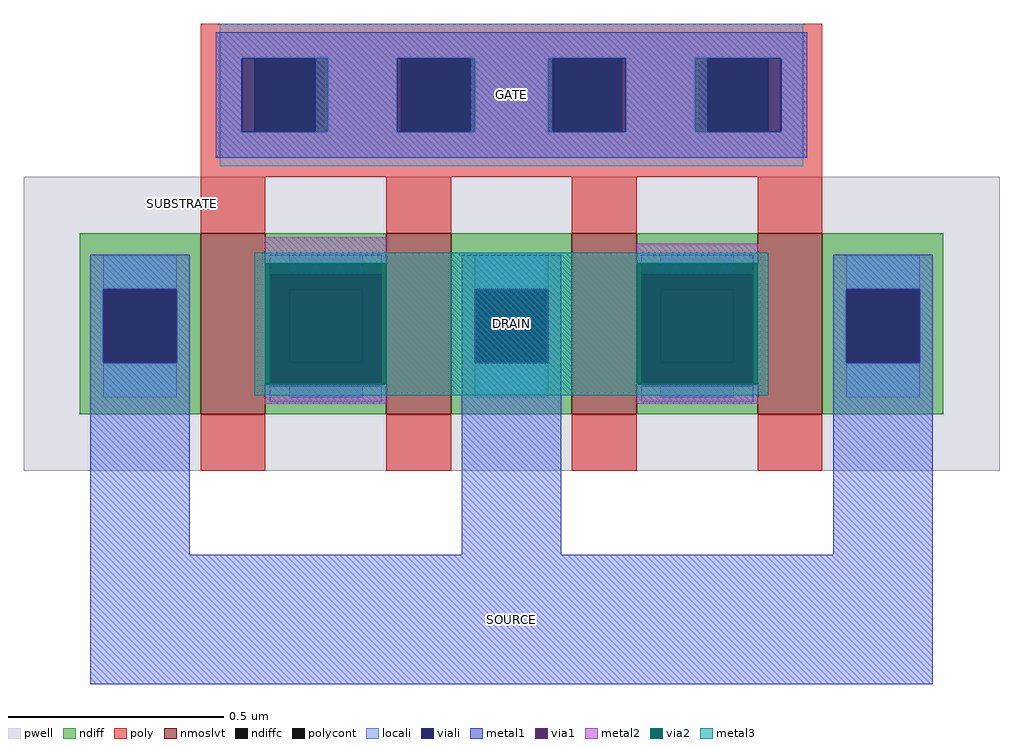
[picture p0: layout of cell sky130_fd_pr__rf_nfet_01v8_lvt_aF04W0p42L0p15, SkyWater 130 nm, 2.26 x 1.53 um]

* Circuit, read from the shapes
.subckt sky130_fd_pr__rf_nfet_01v8_lvt_aF04W0p42L0p15 DRAIN SOURCE GATE SUBSTRATE
XM1 DRAIN GATE SOURCE SUBSTRATE sky130_fd_pr__nfet_01v8_lvt w=0.42 l=0.15 m=4
.ends

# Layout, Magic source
magic
tech sky130A
magscale 1 2
<< pwell >>
rect 10 10 462 146
<< nmoslvt >>
rect 92 36 122 120
rect 178 36 208 120
rect 264 36 294 120
rect 350 36 380 120
<< ndiff >>
rect 36 94 92 120
rect 36 60 47 94
rect 81 60 92 94
rect 36 36 92 60
rect 122 94 178 120
rect 122 60 133 94
rect 167 60 178 94
rect 122 36 178 60
rect 208 94 264 120
rect 208 60 219 94
rect 253 60 264 94
rect 208 36 264 60
rect 294 94 350 120
rect 294 60 305 94
rect 339 60 350 94
rect 294 36 350 60
rect 380 94 436 120
rect 380 60 391 94
rect 425 60 436 94
rect 380 36 436 60
<< ndiffc >>
rect 47 60 81 94
rect 133 60 167 94
rect 219 60 253 94
rect 305 60 339 94
rect 391 60 425 94
<< poly >>
rect 92 201 380 217
rect 92 167 117 201
rect 151 167 185 201
rect 219 167 253 201
rect 287 167 321 201
rect 355 167 380 201
rect 92 146 380 167
rect 92 120 122 146
rect 178 120 208 146
rect 264 120 294 146
rect 350 120 380 146
rect 92 10 122 36
rect 178 10 208 36
rect 264 10 294 36
rect 350 10 380 36
<< polycont >>
rect 117 167 151 201
rect 185 167 219 201
rect 253 167 287 201
rect 321 167 355 201
<< locali >>
rect 101 201 371 217
rect 101 167 111 201
rect 151 167 183 201
rect 219 167 253 201
rect 289 167 321 201
rect 361 167 371 201
rect 101 151 371 167
rect 47 94 81 110
rect 47 44 81 60
rect 133 94 167 110
rect 133 44 167 60
rect 219 94 253 110
rect 219 44 253 60
rect 305 94 339 110
rect 305 44 339 60
rect 391 94 425 110
rect 391 44 425 60
<< viali >>
rect 111 167 117 201
rect 117 167 145 201
rect 183 167 185 201
rect 185 167 217 201
rect 255 167 287 201
rect 287 167 289 201
rect 327 167 355 201
rect 355 167 361 201
rect 47 60 81 94
rect 133 60 167 94
rect 219 60 253 94
rect 305 60 339 94
rect 391 60 425 94
<< metal1 >>
rect 99 201 373 213
rect 99 167 111 201
rect 145 167 183 201
rect 217 167 255 201
rect 289 167 327 201
rect 361 167 373 201
rect 99 155 373 167
rect 41 94 87 110
rect 41 60 47 94
rect 81 60 87 94
rect 41 -29 87 60
rect 124 101 176 110
rect 124 42 176 49
rect 213 94 259 110
rect 213 60 219 94
rect 253 60 259 94
rect 213 -29 259 60
rect 296 101 348 110
rect 296 42 348 49
rect 385 94 431 110
rect 385 60 391 94
rect 425 60 431 94
rect 385 -29 431 60
rect 41 -89 431 -29
<< via1 >>
rect 124 94 176 101
rect 124 60 133 94
rect 133 60 167 94
rect 167 60 176 94
rect 124 49 176 60
rect 296 94 348 101
rect 296 60 305 94
rect 305 60 339 94
rect 339 60 348 94
rect 296 49 348 60
<< metal2 >>
rect 122 106 178 118
rect 122 49 124 50
rect 176 49 178 50
rect 122 41 178 49
rect 294 106 350 115
rect 294 49 296 50
rect 348 49 350 50
rect 294 41 350 49
<< via2 >>
rect 122 101 178 106
rect 122 50 124 101
rect 124 50 176 101
rect 176 50 178 101
rect 294 101 350 106
rect 294 50 296 101
rect 296 50 348 101
rect 348 50 350 101
<< metal3 >>
rect 117 106 355 111
rect 117 50 122 106
rect 178 50 294 106
rect 350 50 355 106
rect 117 45 355 50
<< labels >>
flabel metal3 s 117 45 355 111 0 FreeSans 400 0 0 0 DRAIN
port 1 nsew
flabel metal1 s 41 -89 431 -29 0 FreeSans 400 0 0 0 SOURCE
port 2 nsew
flabel metal1 s 99 155 373 213 0 FreeSans 400 0 0 0 GATE
port 3 nsew
flabel pwell s 78 130 89 137 0 FreeSans 200 0 0 0 SUBSTRATE
port 4 nsew
<< properties >>
string GDS_FILE $PDKPATH/libs.ref/sky130_fd_pr/gds/sky130_fd_pr.gds
string GDS_END 5814518
string GDS_START 5808984
string path 8.050 2.750 8.050 1.050 
<< end >>
